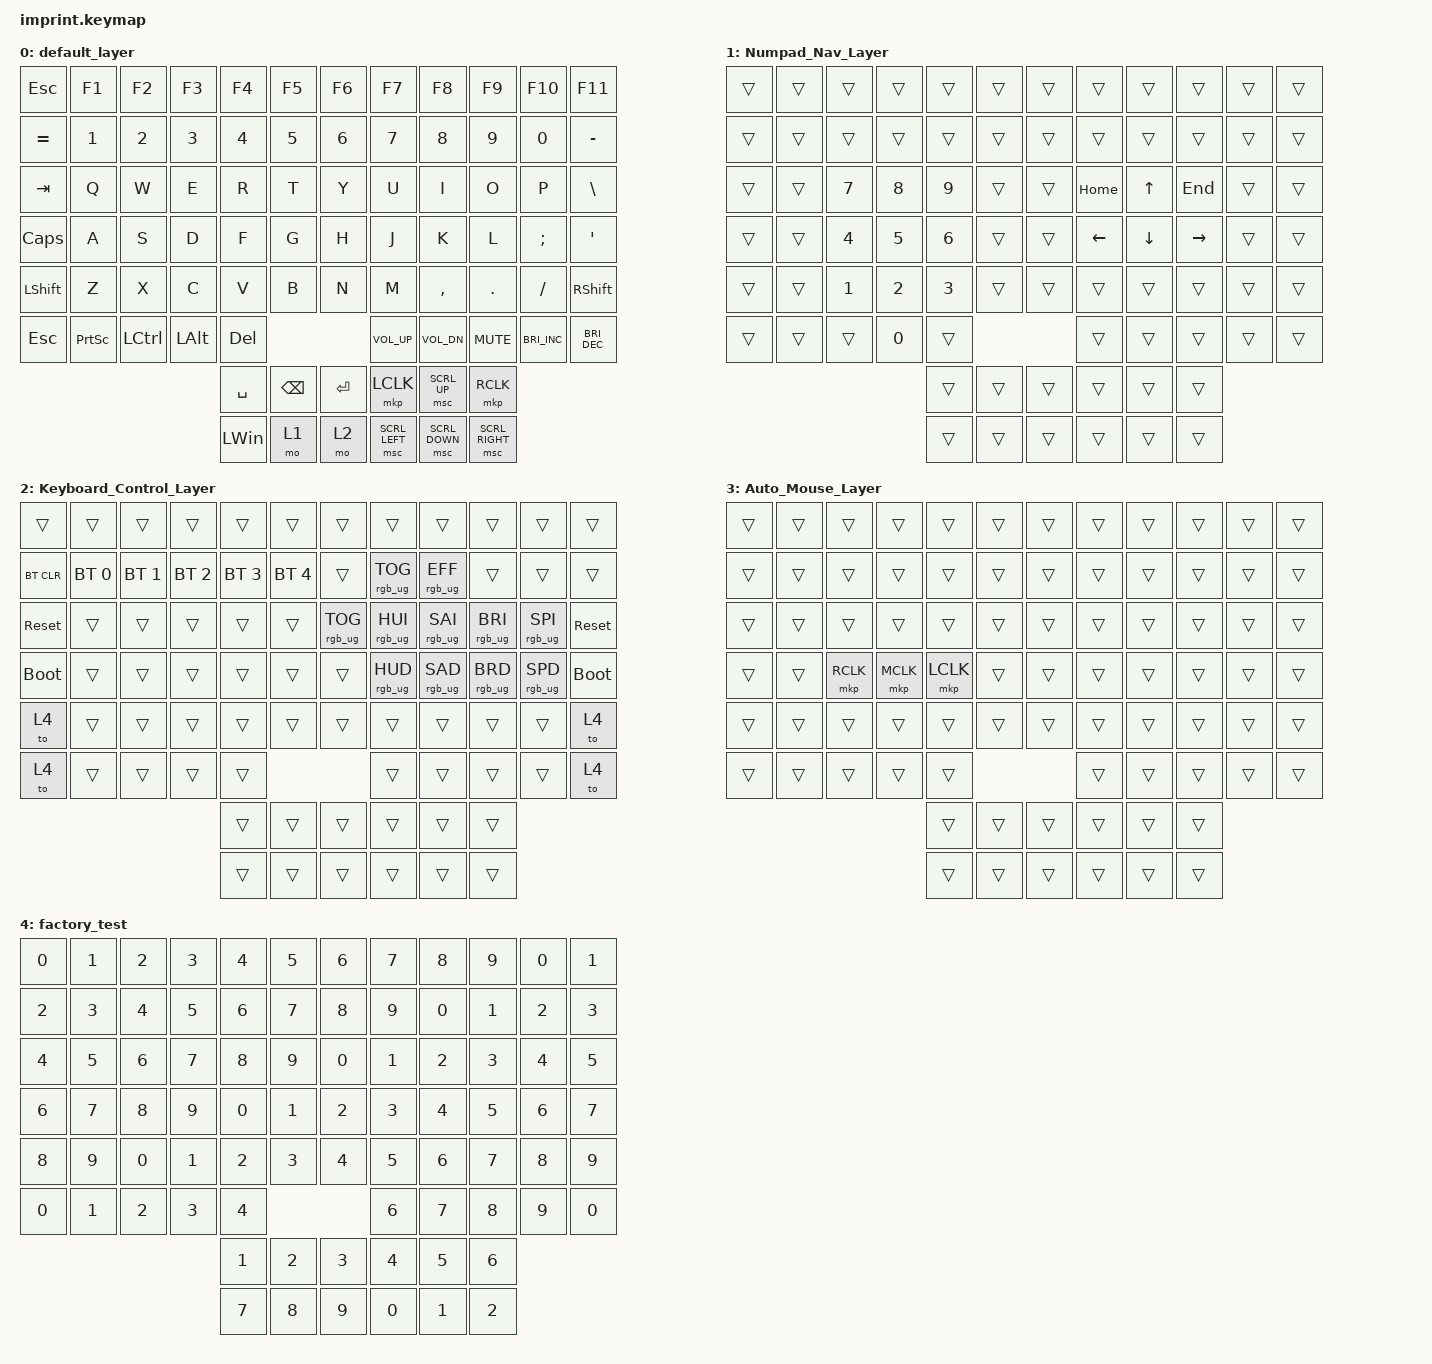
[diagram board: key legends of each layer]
#include <input/processors.dtsi>
#include <dt-bindings/zmk/input_transform.h>
#include <behaviors.dtsi>
#include <dt-bindings/zmk/bt.h>
#include <dt-bindings/zmk/keys.h>
#include <dt-bindings/zmk/pointing.h>
#include <dt-bindings/zmk/rgb.h>

/ {
    chosen { zmk,matrix-transform = &imprint_function_row_full_bottom_row; };

    keymap {
        compatible = "zmk,keymap";

        default_layer {
            bindings = <
&kp ESC     &kp F1           &kp F2            &kp F3    &kp F4        &kp F5                      &kp F6          &kp F7           &kp F8           &kp F9      &kp F10               &kp F11
&kp EQUAL   &kp N1           &kp N2            &kp N3    &kp N4        &kp N5                      &kp N6          &kp N7           &kp N8           &kp N9      &kp N0                &kp MINUS
&kp TAB     &kp Q            &kp W             &kp E     &kp R         &kp T                       &kp Y           &kp U            &kp I            &kp O       &kp P                 &kp BSLH
&kp CAPS    &kp A            &kp S             &kp D     &kp F         &kp G                       &kp H           &kp J            &kp K            &kp L       &kp SEMI              &kp SQT
&kp LSHFT   &kp Z            &kp X             &kp C     &kp V         &kp B                       &kp N           &kp M            &kp COMMA        &kp DOT     &kp FSLH              &kp RIGHT_SHIFT
&kp ESCAPE  &kp PRINTSCREEN  &kp LEFT_CONTROL  &kp LALT  &kp DELETE                                                &kp C_VOLUME_UP  &kp C_VOL_DN     &kp K_MUTE  &kp C_BRIGHTNESS_INC  &kp C_BRI_DEC
                                                         &kp SPACE     &kp BACKSPACE  &kp ENTER    &mkp LCLK       &msc SCRL_UP     &mkp RCLK
                                                         &kp LEFT_WIN  &mo 1          &mo 2        &msc SCRL_LEFT  &msc SCRL_DOWN   &msc SCRL_RIGHT
            >;
        };

        Numpad_Nav_Layer {
            bindings = <
&trans  &trans  &trans  &trans  &trans  &trans            &trans  &trans    &trans    &trans     &trans  &trans
&trans  &trans  &trans  &trans  &trans  &trans            &trans  &trans    &trans    &trans     &trans  &trans
&trans  &trans  &kp N7  &kp N8  &kp N9  &trans            &trans  &kp HOME  &kp UP    &kp END    &trans  &trans
&trans  &trans  &kp N4  &kp N5  &kp N6  &trans            &trans  &kp LEFT  &kp DOWN  &kp RIGHT  &trans  &trans
&trans  &trans  &kp N1  &kp N2  &kp N3  &trans            &trans  &trans    &trans    &trans     &trans  &trans
&trans  &trans  &trans  &kp N0  &trans                            &trans    &trans    &trans     &trans  &trans
                                &trans  &trans  &trans    &trans  &trans    &trans
                                &trans  &trans  &trans    &trans  &trans    &trans
            >;
        };

        Keyboard_Control_Layer {
            bindings = <
&trans       &trans        &trans        &trans        &trans        &trans                  &trans           &trans           &trans           &trans           &trans           &trans
&bt BT_CLR   &bt BT_SEL 0  &bt BT_SEL 1  &bt BT_SEL 2  &bt BT_SEL 3  &bt BT_SEL 4            &trans           &rgb_ug RGB_TOG  &rgb_ug RGB_EFF  &trans           &trans           &trans
&sys_reset   &trans        &trans        &trans        &trans        &trans                  &rgb_ug RGB_TOG  &rgb_ug RGB_HUI  &rgb_ug RGB_SAI  &rgb_ug RGB_BRI  &rgb_ug RGB_SPI  &sys_reset
&bootloader  &trans        &trans        &trans        &trans        &trans                  &trans           &rgb_ug RGB_HUD  &rgb_ug RGB_SAD  &rgb_ug RGB_BRD  &rgb_ug RGB_SPD  &bootloader
&to 4        &trans        &trans        &trans        &trans        &trans                  &trans           &trans           &trans           &trans           &trans           &to 4
&to 4        &trans        &trans        &trans        &trans                                                 &trans           &trans           &trans           &trans           &to 4
                                                       &trans        &trans        &trans    &trans           &trans           &trans
                                                       &trans        &trans        &trans    &trans           &trans           &trans
            >;
        };

        Auto_Mouse_Layer {
            bindings = <
&trans  &trans  &trans     &trans     &trans     &trans            &trans  &trans  &trans  &trans  &trans  &trans
&trans  &trans  &trans     &trans     &trans     &trans            &trans  &trans  &trans  &trans  &trans  &trans
&trans  &trans  &trans     &trans     &trans     &trans            &trans  &trans  &trans  &trans  &trans  &trans
&trans  &trans  &mkp RCLK  &mkp MCLK  &mkp LCLK  &trans            &trans  &trans  &trans  &trans  &trans  &trans
&trans  &trans  &trans     &trans     &trans     &trans            &trans  &trans  &trans  &trans  &trans  &trans
&trans  &trans  &trans     &trans     &trans                               &trans  &trans  &trans  &trans  &trans
                                      &trans     &trans  &trans    &trans  &trans  &trans
                                      &trans     &trans  &trans    &trans  &trans  &trans
            >;
        };

        factory_test {
            bindings = <
&kp N0  &kp N1  &kp N2  &kp N3  &kp N4  &kp N5            &kp N6  &kp N7  &kp N8  &kp N9  &kp N0  &kp N1
&kp N2  &kp N3  &kp N4  &kp N5  &kp N6  &kp N7            &kp N8  &kp N9  &kp N0  &kp N1  &kp N2  &kp N3
&kp N4  &kp N5  &kp N6  &kp N7  &kp N8  &kp N9            &kp N0  &kp N1  &kp N2  &kp N3  &kp N4  &kp N5
&kp N6  &kp N7  &kp N8  &kp N9  &kp N0  &kp N1            &kp N2  &kp N3  &kp N4  &kp N5  &kp N6  &kp N7
&kp N8  &kp N9  &kp N0  &kp N1  &kp N2  &kp N3            &kp N4  &kp N5  &kp N6  &kp N7  &kp N8  &kp N9
&kp N0  &kp N1  &kp N2  &kp N3  &kp N4                            &kp N6  &kp N7  &kp N8  &kp N9  &kp N0
                                &kp N1  &kp N2  &kp N3    &kp N4  &kp N5  &kp N6
                                &kp N7  &kp N8  &kp N9    &kp N0  &kp N1  &kp N2
            >;
        };
    };
};

// right hand trackball configuration
// &trackball_peripheral_listener {
//    input-processors =
//     activate layer 3 within 500ms of the trackball moving
//     <&zip_temp_layer 3 500>;
// };
//left hand trackball configuration

&trackball_central_listener {
    input-processors =
        // multiply sensitivity by 1, divide by 3 (make it slower for scrolling),,,
        <&zip_xy_scaler 1 3>,
        // make this trackball output scrolling events by default instead of cursor movement,,,
        <&zip_xy_to_scroll_mapper>,
        // invert vertical scrolling so that the view moves in the same direction as the top of the trackball.,,,
        <&zip_scroll_transform INPUT_TRANSFORM_Y_INVERT>;
};
